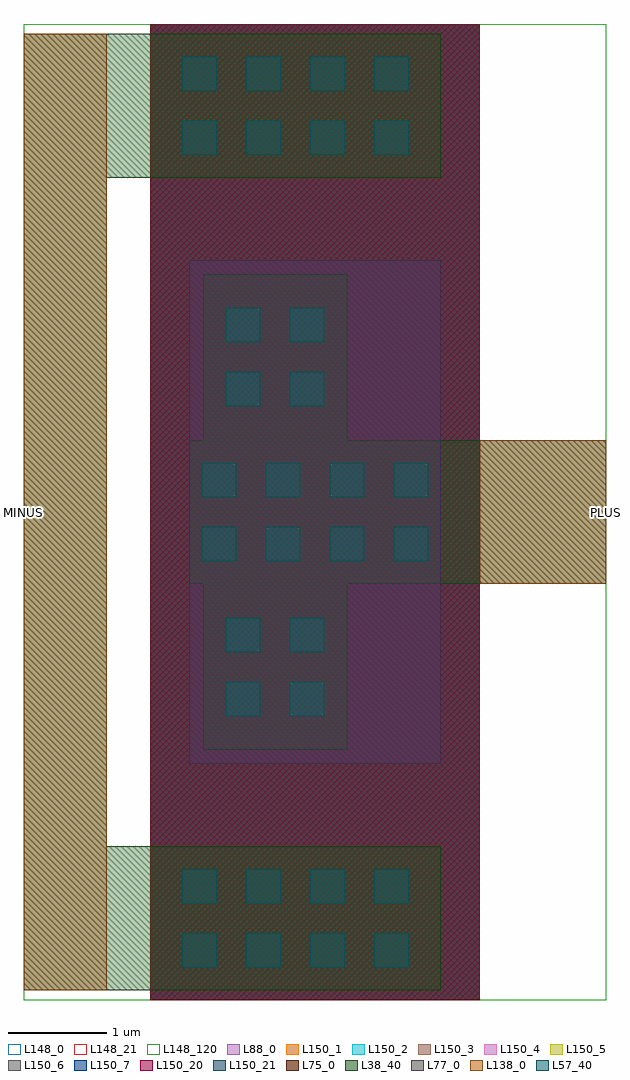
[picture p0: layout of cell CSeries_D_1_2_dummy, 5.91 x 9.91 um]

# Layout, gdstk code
import gdstk
lib = gdstk.Library(unit=1e-6, precision=1e-09)
def R(c, l, rs):  # rectangles x0, y0, x1, y1
    for r in rs: c.add(gdstk.rectangle(r[:2], r[2:], *l))
def A(c, l, x, y, w, h, nx, ny, dx, dy):  # array of equal rectangles
    R(c, l, [(x+i*dx, y+j*dy, x+i*dx+w, y+j*dy+h) for i in range(nx) for j in range(ny)])
L38_40 = (38, 40)
L57_40 = (57, 40)
L75_0 = (75, 0)
L77_0 = (77, 0)
L88_0 = (88, 0)
L138_0 = (138, 0)
L148_0 = (148, 0)
L148_21 = (148, 21)
L148_120 = (148, 120)
L150_1 = (150, 1)
L150_2 = (150, 2)
L150_3 = (150, 3)
L150_4 = (150, 4)
L150_5 = (150, 5)
L150_6 = (150, 6)
L150_7 = (150, 7)
L150_20 = (150, 20)
L150_21 = (150, 21)

cseries_d_1_2_dummy = lib.new_cell('CSeries_D_1_2_dummy')
R(cseries_d_1_2_dummy, L38_40, [(-1.68,-2.3,2.55,-0.84), (-1.68,-0.84,-0.84,5.95), (0.14,0.14,1.6,4.97), (0,1.825,4.23,3.285), (-1.68,5.95,2.55,7.41)])
A(cseries_d_1_2_dummy, L57_40, -0.075, -2.07, 0.35, 0.35, 4, 2, 0.65, 0.65)
A(cseries_d_1_2_dummy, L57_40, 0.125, 2.055, 0.35, 0.35, 4, 2, 0.65, 0.65)
A(cseries_d_1_2_dummy, L57_40, -0.075, 6.18, 0.35, 0.35, 4, 2, 0.65, 0.65)
R(cseries_d_1_2_dummy, L57_40, [(0.37,0.483,0.72,0.832), (1.02,0.483,1.37,0.832), (0.37,1.132,0.72,1.482), (1.02,1.132,1.37,1.482), (0.37,3.628,0.72,3.978), (1.02,3.628,1.37,3.978), (0.37,4.277,0.72,4.627), (1.02,4.277,1.37,4.627)])
R(cseries_d_1_2_dummy, L75_0, [(-0.4,-2.4,2.95,7.51)])
R(cseries_d_1_2_dummy, L77_0, [(0,0,2.55,5.11)])
R(cseries_d_1_2_dummy, L88_0, [(-0.4,-2.4,2.95,7.51)])
R(cseries_d_1_2_dummy, L138_0, [(-1.68,-2.3,-0.84,7.41), (2.95,1.825,4.23,3.285)])
R(cseries_d_1_2_dummy, L148_0, [(-1.68,-2.4,4.23,7.51)])
R(cseries_d_1_2_dummy, L148_21, [(-1.68,-2.4,4.23,7.51)])
R(cseries_d_1_2_dummy, L148_120, [(-1.68,-2.4,4.23,7.51)])
R(cseries_d_1_2_dummy, L150_1, [(-0.4,-2.4,2.95,7.51)])
R(cseries_d_1_2_dummy, L150_2, [(-0.4,-2.4,2.95,7.51)])
R(cseries_d_1_2_dummy, L150_3, [(-0.4,-2.4,2.95,7.51)])
R(cseries_d_1_2_dummy, L150_4, [(-0.4,-2.4,2.95,7.51)])
R(cseries_d_1_2_dummy, L150_5, [(-0.4,-2.4,2.95,7.51)])
R(cseries_d_1_2_dummy, L150_6, [(-0.4,-2.4,2.95,7.51)])
R(cseries_d_1_2_dummy, L150_7, [(-0.4,-2.4,2.95,7.51)])
R(cseries_d_1_2_dummy, L150_20, [(-0.4,-2.4,2.95,7.51)])
R(cseries_d_1_2_dummy, L150_21, [(-0.4,-2.4,2.95,7.51)])
cseries_d_1_2_dummy.add(gdstk.Label('MINUS', (-1.68,2.555), layer=138, texttype=0))
cseries_d_1_2_dummy.add(gdstk.Label('PLUS', (4.23,2.555), layer=138, texttype=0))

lib.write_gds('CSeries_D_1_2_dummy.gds')
